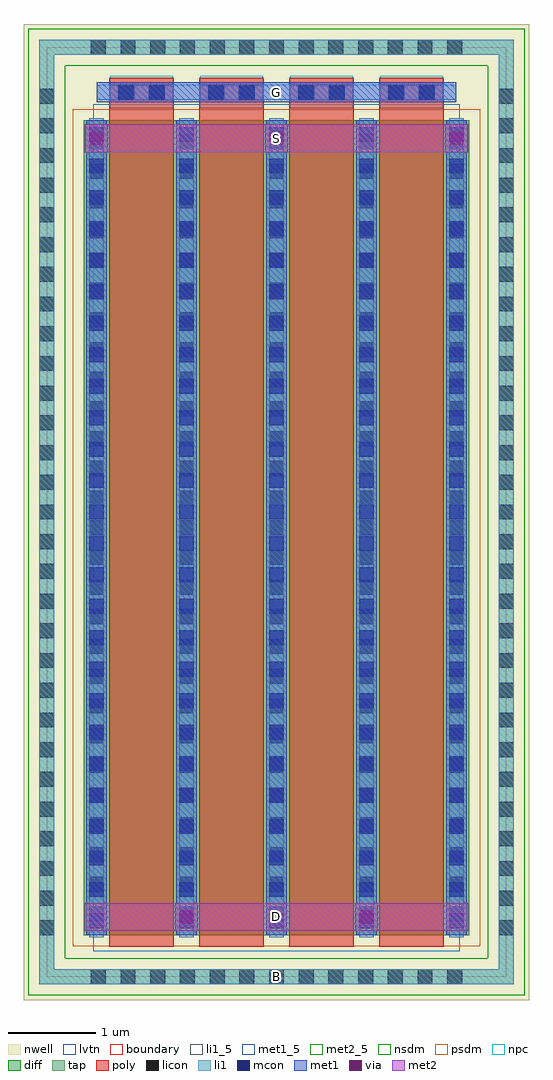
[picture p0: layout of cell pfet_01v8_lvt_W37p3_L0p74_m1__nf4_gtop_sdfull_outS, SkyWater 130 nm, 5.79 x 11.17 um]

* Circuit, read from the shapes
.subckt pfet_01v8_lvt_W37p3_L0p74_m1__nf4_gtop_sdfull_outS B D G S
XM1 D G S B sky130_fd_pr__pfet_01v8_lvt w=9.33 l=0.74 m=4
.ends

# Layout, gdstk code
import gdstk
lib = gdstk.Library(unit=1e-6, precision=1e-09)
def R(c, l, rs):  # rectangles x0, y0, x1, y1
    for r in rs: c.add(gdstk.rectangle(r[:2], r[2:], *l))
def A(c, l, x, y, w, h, nx, ny, dx, dy):  # array of equal rectangles
    R(c, l, [(x+i*dx, y+j*dy, x+i*dx+w, y+j*dy+h) for i in range(nx) for j in range(ny)])
nwell = (64, 20)
diff = (65, 20)
tap = (65, 44)
poly = (66, 20)
licon = (66, 44)
li1_5 = (67, 5)
li1 = (67, 20)
mcon = (67, 44)
met1_5 = (68, 5)
met1 = (68, 20)
via = (68, 44)
met2_5 = (69, 5)
met2 = (69, 20)
nsdm = (93, 44)
psdm = (94, 20)
npc = (95, 20)
lvtn = (125, 44)
boundary = (235, 4)

sky130_fd_pr__pfet_01v8_ = lib.new_cell('sky130_fd_pr__pfet_01v8_lvt_Z3FU2W')
R(sky130_fd_pr__pfet_01v8_, nwell, [(-2.895,-5.585,2.895,5.585)])
R(sky130_fd_pr__pfet_01v8_, diff, [(-2.205,-4.845,2.205,4.485)])
R(sky130_fd_pr__pfet_01v8_, tap, [(-2.715,-5.405,2.715,-5.235), (-2.715,-5.235,-2.545,5.235), (2.545,-5.235,2.715,5.235), (-2.715,5.235,2.715,5.405)])
A(sky130_fd_pr__pfet_01v8_, poly, -1.915, -4.975, 0.74, 9.945, 4, 1, 1.03, 0)
A(sky130_fd_pr__pfet_01v8_, licon, -2.125, -5.405, 0.17, 0.17, 13, 2, 0.34, 10.64)
A(sky130_fd_pr__pfet_01v8_, licon, -2.715, -4.845, 0.17, 0.17, 1, 29, 0, 0.34)
A(sky130_fd_pr__pfet_01v8_, licon, 2.545, -4.845, 0.17, 0.17, 1, 29, 0, 0.34)
A(sky130_fd_pr__pfet_01v8_, licon, -2.145, -4.685, 0.17, 0.17, 5, 27, 1.03, 0.34)
R(sky130_fd_pr__pfet_01v8_, licon, [(-1.8,4.72,-1.63,4.89), (-1.46,4.72,-1.29,4.89), (-0.77,4.72,-0.6,4.89), (-0.43,4.72,-0.26,4.89), (0.26,4.72,0.43,4.89), (0.6,4.72,0.77,4.89), (1.29,4.72,1.46,4.89), (1.63,4.72,1.8,4.89)])
A(sky130_fd_pr__pfet_01v8_, li1, -2.145, -4.865, 0.17, 9.37, 5, 1, 1.03, 0)
R(sky130_fd_pr__pfet_01v8_, li1, [(-2.715,-5.405,2.715,-5.235), (-2.715,-5.235,-2.545,5.235), (2.545,-5.235,2.715,5.235), (-2.06,4.72,2.06,4.89), (-2.715,5.235,2.715,5.405)])
A(sky130_fd_pr__pfet_01v8_, mcon, -2.145, -4.765, 0.17, 0.17, 5, 26, 1.03, 0.36)
R(sky130_fd_pr__pfet_01v8_, mcon, [(-1.81,4.72,-1.64,4.89), (-1.45,4.72,-1.28,4.89), (-0.78,4.72,-0.61,4.89), (-0.42,4.72,-0.25,4.89), (0.25,4.72,0.42,4.89), (0.61,4.72,0.78,4.89), (1.28,4.72,1.45,4.89), (1.64,4.72,1.81,4.89)])
A(sky130_fd_pr__pfet_01v8_, met1, -2.175, -4.845, 0.23, 9.33, 5, 1, 1.03, 0)
A(sky130_fd_pr__pfet_01v8_, met1, -1.895, 4.69, 0.7, 0.03, 4, 2, 1.03, 0.2)
R(sky130_fd_pr__pfet_01v8_, met1, [(-2.06,4.72,2.06,4.89)])
R(sky130_fd_pr__pfet_01v8_, nsdm, [(-2.84,-5.53,2.84,-5.11), (-2.84,-5.11,-2.42,5.11), (2.42,-5.11,2.84,5.11), (-2.84,5.11,2.84,5.53)])
R(sky130_fd_pr__pfet_01v8_, psdm, [(-2.33,-4.97,2.33,4.61)])
A(sky130_fd_pr__pfet_01v8_, npc, -1.9, 4.62, 0.71, 0.37, 4, 1, 1.03, 0)
R(sky130_fd_pr__pfet_01v8_, lvtn, [(-2.095,-5.025,2.095,4.665)])
R(sky130_fd_pr__pfet_01v8_, boundary, [(-2.63,-5.32,2.63,5.32)])
sky130_fd_pr__pfet_01v8_.add(gdstk.Label('B', (0,-5.32), layer=67, texttype=5))
sky130_fd_pr__pfet_01v8_.add(gdstk.Label('D0', (-2.06,-0.18), layer=67, texttype=5))
sky130_fd_pr__pfet_01v8_.add(gdstk.Label('G', (1.545,4.805), layer=67, texttype=5))
sky130_fd_pr__pfet_01v8_.add(gdstk.Label('G', (0.515,4.805), layer=67, texttype=5))
sky130_fd_pr__pfet_01v8_.add(gdstk.Label('G', (-0.515,4.805), layer=67, texttype=5))
sky130_fd_pr__pfet_01v8_.add(gdstk.Label('G', (-1.545,4.805), layer=67, texttype=5))
sky130_fd_pr__pfet_01v8_.add(gdstk.Label('S1', (-1.03,-0.18), layer=67, texttype=5))
sky130_fd_pr__pfet_01v8_.add(gdstk.Label('D2', (0,-0.18), layer=67, texttype=5))
sky130_fd_pr__pfet_01v8_.add(gdstk.Label('S3', (1.03,-0.18), layer=67, texttype=5))

pfet_01v8_lvt_w37p3_l0p7 = lib.new_cell('pfet_01v8_lvt_W37p3_L0p74_m1__nf4_gtop_sdfull_outS')
R(pfet_01v8_lvt_w37p3_l0p7, li1_5, [(2.545,-0.085,2.715,0.085)])
R(pfet_01v8_lvt_w37p3_l0p7, li1, [(2.545,-0.085,2.715,0.085)])
R(pfet_01v8_lvt_w37p3_l0p7, met1_5, [(0.57,10.01,4.69,10.24)])
A(pfet_01v8_lvt_w37p3_l0p7, met1, 0.44, 9.435, 0.26, 0.32, 3, 1, 2.06, 0)
R(pfet_01v8_lvt_w37p3_l0p7, met1, [(1.47,0.525,1.73,0.845), (3.53,0.525,3.79,0.845), (0.57,10.01,4.69,10.24)])
A(pfet_01v8_lvt_w37p3_l0p7, via, 0.495, 9.52, 0.15, 0.15, 3, 1, 2.06, 0)
R(pfet_01v8_lvt_w37p3_l0p7, via, [(1.525,0.61,1.675,0.76), (3.585,0.61,3.735,0.76)])
R(pfet_01v8_lvt_w37p3_l0p7, met2_5, [(0.435,0.525,4.825,0.845), (0.435,9.435,4.825,9.755)])
R(pfet_01v8_lvt_w37p3_l0p7, met2, [(0.435,0.525,4.825,0.845), (0.435,9.435,4.825,9.755)])
pfet_01v8_lvt_w37p3_l0p7.add(gdstk.Reference(sky130_fd_pr__pfet_01v8_, (2.63,5.32)))
pfet_01v8_lvt_w37p3_l0p7.add(gdstk.Label('S', (2.63,9.595), layer=69, texttype=5))
pfet_01v8_lvt_w37p3_l0p7.add(gdstk.Label('D', (2.63,0.685), layer=69, texttype=5))
pfet_01v8_lvt_w37p3_l0p7.add(gdstk.Label('G', (2.63,10.125), layer=68, texttype=5))
pfet_01v8_lvt_w37p3_l0p7.add(gdstk.Label('B', (2.63,0), layer=67, texttype=5))

lib.write_gds('pfet_01v8_lvt_W37p3_L0p74_m1__nf4_gtop_sdfull_outS.gds')
